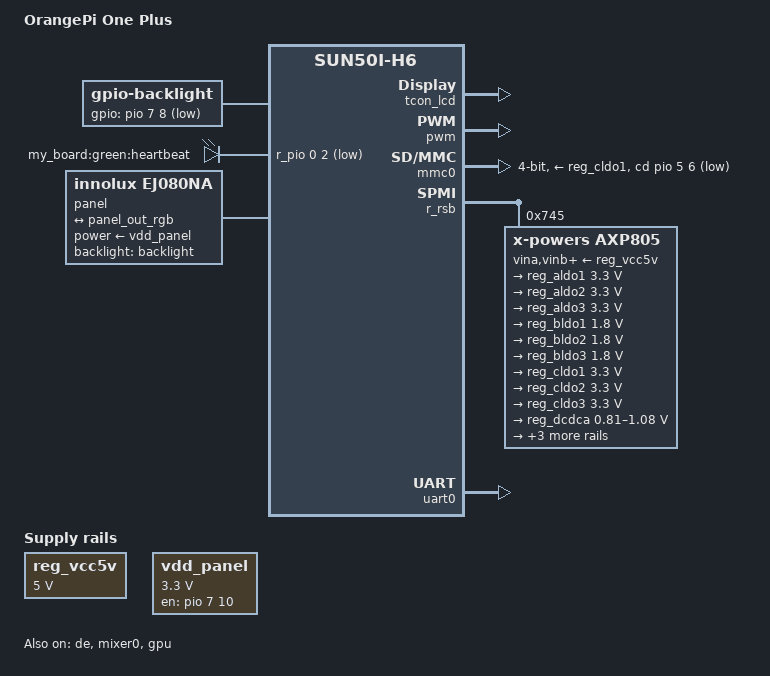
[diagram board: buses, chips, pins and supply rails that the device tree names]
// SPDX-License-Identifier: (GPL-2.0+ OR MIT)
// Copyright (C) 2018 Amarula Solutions
// Author: Jagan Teki <jagan@amarulasolutions.com>

/dts-v1/;

#include "sun50i-h6_custom.dtsi"
//#include "sunxi-common-regulators.dtsi"

#include <dt-bindings/gpio/gpio.h>

/ {
	model = "OrangePi One Plus";
	compatible = "xunlong,orangepi-one-plus", "allwinner,sun50i-h6";

	aliases {
		serial0 = &uart0;
	};

	backlight: backlight {
		compatible = "gpio-backlight";
		gpios = <&pio 7 8 GPIO_ACTIVE_LOW>; /* PH8 */
		enable-active-low;
		status = "okay";
	};

	chosen {
		stdout-path = "serial0:115200n8";
/*
		framebuffer0: framebuffer@1d385000 {
			#address-cells = <1>;
			#size-cells = <1>;
			stdout-path = "display0";

			ranges;
			compatible = "allwinner,simple-framebuffer", "simple-framebuffer";
			allwinner,pipeline = "mixer0-lcd0";
			reg = <0x1d385000 (800 * 600 * 2)>;
			width = <800>;
			height = <600>;
			stride = <(800 * 2)>;
			format = "r5g6b5";
			clocks = <&ccu CLK_BUS_TCON_TOP>,
				<&ccu CLK_TCON_LCD0>,
				<&display_clocks CLK_MIXER0>;
			lcd-supply = <&vdd_panel>;
			display = <&tcon_lcd>;
			status = "okay";
		};
*/
	};

	leds {
		compatible = "gpio-leds";

		heartbeat {
			label = "my_board:green:heartbeat";
			gpios = <&r_pio 0 2 GPIO_ACTIVE_LOW>; /*  PL2 LED */
		};

	};

	reg_vcc5v: vcc5v {
		/* board wide 5V supply directly from the DC jack */
		compatible = "regulator-fixed";
		regulator-name = "vcc-5v";
		regulator-min-microvolt = <5000000>;
		regulator-max-microvolt = <5000000>;
		regulator-always-on;
	};

	vdd_panel: vdd-panel {
		compatible = "regulator-fixed";
		regulator-name = "vcc-lcd";
		regulator-min-microvolt = <3300000>;
		regulator-max-microvolt = <3300000>;
		enable-gpios = <&pio 7 10 GPIO_ACTIVE_HIGH>; /* PH10 AVDD_EN  */
		enable-active-high;
	};

	panel: panel {
		compatible = "innolux,ej080na";
		backlight = <&backlight>;
		power-supply = <&vdd_panel>;
		#address-cells = <1>;
		#size-cells = <0>;
		rotation = <90>;
		status = "okay";
/*
		panel-timing {
			clock-frequency = <40000000>;
			hactive = <800>;
			vactive = <600>;
			hfront-porch = <8>;
			hback-porch = <4>;
			hsync-len = <41>;
			vback-porch = <2>;
			vfront-porch = <4>;
			vsync-len = <10>;
			hsync-active = <0>;
			vsync-active = <0>;
			de-active = <1>;
			pixelclk-active = <1>;
		};
*/
		port@0 {
			reg = <0>;
			#address-cells = <1>;
			#size-cells = <0>;

			panel_in_rgb: endpoint@0 {
				reg = <0>;
				remote-endpoint = <&panel_out_rgb>;
			};
		};
	};
};

&de {
	status = "okay";
};

&mixer0 {
        status = "okay";
};
/*
&simplefb_lcd {
	panel-supply = <&vdd_panel>;
	lcd-supply = <&vdd_panel>;
	display = <&tcon_lcd>;

	status = "okay";
};
*/

&tcon_lcd {
	pinctrl-names = "default";
	pinctrl-0 = <&lcd_rgb666_pins>;
	status = "okay";
};

&tcon_lcd_out {
	panel_out_rgb: endpoint@0 {
		reg = <0>;
		remote-endpoint = <&panel_in_rgb>;
	};
};

&gpu {
	mali-supply = <&reg_dcdcc>;
	status = "okay";
};


&pwm {
	status = "okay";
};

&mmc0 {
	vmmc-supply = <&reg_cldo1>;
	cd-gpios = <&pio 5 6 GPIO_ACTIVE_LOW>;
	bus-width = <4>;
	status = "okay";
};

&pio {
	vcc-pc-supply = <&reg_bldo2>;
	vcc-pd-supply = <&reg_cldo1>;
	vcc-pg-supply = <&reg_aldo1>;
};

&r_pio {
	vcc-pm-supply = <&reg_bldo3>;
};


&r_rsb {
	status = "okay";

	axp805: pmic@745 {
		compatible = "x-powers,axp805", "x-powers,axp806";
		reg = <0x745>;
		interrupt-parent = <&r_intc>;
		interrupts = <GIC_SPI 96 IRQ_TYPE_LEVEL_LOW>;
		interrupt-controller;
		#interrupt-cells = <1>;
		x-powers,self-working-mode;
		vina-supply = <&reg_vcc5v>;
		vinb-supply = <&reg_vcc5v>;
		vinc-supply = <&reg_vcc5v>;
		vind-supply = <&reg_vcc5v>;
		vine-supply = <&reg_vcc5v>;
		aldoin-supply = <&reg_vcc5v>;
		bldoin-supply = <&reg_vcc5v>;
		cldoin-supply = <&reg_vcc5v>;

		regulators {
			reg_aldo1: aldo1 {
				regulator-always-on;
				regulator-min-microvolt = <3300000>;
				regulator-max-microvolt = <3300000>;
				regulator-name = "vcc-pl";
			};

			reg_aldo2: aldo2 {
				regulator-min-microvolt = <3300000>;
				regulator-max-microvolt = <3300000>;
				regulator-name = "vcc-ac200";
			};

			reg_aldo3: aldo3 {
				regulator-always-on;
				regulator-min-microvolt = <3300000>;
				regulator-max-microvolt = <3300000>;
				regulator-name = "vcc25-dram";
			};

			reg_bldo1: bldo1 {
				regulator-always-on;
				regulator-min-microvolt = <1800000>;
				regulator-max-microvolt = <1800000>;
				regulator-name = "vcc-bias-pll";
			};

			reg_bldo2: bldo2 {
				regulator-always-on;
				regulator-min-microvolt = <1800000>;
				regulator-max-microvolt = <1800000>;
				regulator-name = "vcc-efuse-pcie-hdmi-io";
			};

			reg_bldo3: bldo3 {
				regulator-always-on;
				regulator-min-microvolt = <1800000>;
				regulator-max-microvolt = <1800000>;
				regulator-name = "vcc-dcxoio";
			};

			bldo4 {
				/* unused */
			};

			reg_cldo1: cldo1 {
				regulator-always-on;
				regulator-min-microvolt = <3300000>;
				regulator-max-microvolt = <3300000>;
				regulator-name = "vcc-3v3";
			};

			reg_cldo2: cldo2 {
				regulator-min-microvolt = <3300000>;
				regulator-max-microvolt = <3300000>;
				regulator-name = "vcc-wifi-1";
			};

			reg_cldo3: cldo3 {
				regulator-min-microvolt = <3300000>;
				regulator-max-microvolt = <3300000>;
				regulator-name = "vcc-wifi-2";
			};

			reg_dcdca: dcdca {
				regulator-always-on;
				regulator-min-microvolt = <810000>;
				regulator-max-microvolt = <1080000>;
				regulator-name = "vdd-cpu";
			};

			reg_dcdcc: dcdcc {
				regulator-enable-ramp-delay = <32000>;
				regulator-min-microvolt = <810000>;
				regulator-max-microvolt = <1080000>;
				regulator-name = "vdd-gpu";
			};

			reg_dcdcd: dcdcd {
				regulator-always-on;
				regulator-min-microvolt = <960000>;
				regulator-max-microvolt = <960000>;
				regulator-name = "vdd-sys";
			};

			reg_dcdce: dcdce {
				regulator-always-on;
				regulator-min-microvolt = <1200000>;
				regulator-max-microvolt = <1200000>;
				regulator-name = "vcc-dram";
			};

			sw {
				/* unused */
			};
		};
	};
};

&uart0 {
	pinctrl-names = "default";
	pinctrl-0 = <&uart0_ph_pins>;
	status = "okay";
};

